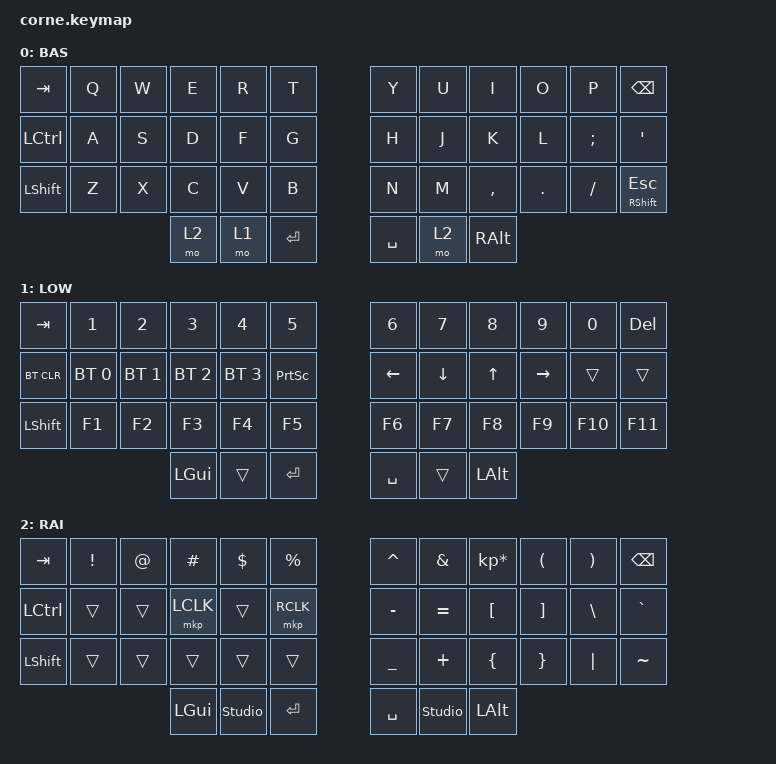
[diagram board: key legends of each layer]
/*
 * Copyright (c) 2020 The ZMK Contributors
 *
 * SPDX-License-Identifier: MIT
 */

#include <behaviors.dtsi>
#include <dt-bindings/zmk/bt.h>
#include <dt-bindings/zmk/keys.h>
#include <dt-bindings/zmk/mouse.h>

/ {
    keymap {
        compatible = "zmk,keymap";

        default_layer {
            display-name = "BAS";
            // -----------------------------------------------------------------------------------------
            // |  TAB |  Q  |  W  |  E  |  R  |  T  |   |  Y  |  U   |  I  |  O  |  P  | BKSP |
            // | CTRL |  A  |  S  |  D  |  F  |  G  |   |  H  |  J   |  K  |  L  |  ;  |  '   |
            // | SHFT |  Z  |  X  |  C  |  V  |  B  |   |  N  |  M   |  ,  |  .  |  /  | ESC  |
            //                    | RSE | LWR | SPC |   | ENT | RSE  | ALT |

            bindings = <
&kp TAB    &kp Q  &kp W  &kp E     &kp R  &kp T        &kp Y    &kp U  &kp I      &kp O    &kp P     &kp BSPC
&kp LCTRL  &kp A  &kp S  &kp D     &kp F  &kp G        &kp H    &kp J  &kp K      &kp L    &kp SEMI  &kp SQT
&kp LSHFT  &kp Z  &kp X  &kp C     &kp V  &kp B        &kp N    &kp M  &kp COMMA  &kp DOT  &kp FSLH  &mt RSHFT ESC
                         &mo 2     &mo 1  &kp RET     &kp SPACE  &mo 2  &kp RALT
            >;
        };

        lower_layer {
            display-name = "LOW";
            // -----------------------------------------------------------------------------------------
            // |  TAB |  1  |  2  |  3  |  4  |  5  |   |  6  |  7  |  8  |  9  |  0  | DEL  |
            // | BTCLR| BT1 | BT2 | BT3 | BT4 | PRSC|   | LFT | DWN |  UP | RGT |     |      |
            // | SHFT |     |     |     |     |     |   |     |     |     |     |     |      |
            //                    | GUI |     | SPC |   | ENT |     | LALT|

            bindings = <
&kp TAB     &kp N1        &kp N2        &kp N3        &kp N4        &kp N5          &kp N6    &kp N7    &kp N8    &kp N9     &kp N0  &kp DEL
&bt BT_CLR  &bt BT_SEL 0  &bt BT_SEL 1  &bt BT_SEL 2  &bt BT_SEL 3  &kp PSCRN       &kp LEFT  &kp DOWN  &kp UP    &kp RIGHT  &trans  &trans
&kp LSHFT   &kp F1        &kp F2        &kp F3        &kp F4        &kp F5          &kp F6    &kp F7    &kp F8    &kp F9     &kp F10 &kp F11
                                        &kp LGUI      &trans        &kp RET         &kp SPACE   &trans    &kp LALT
            >;
        };

        raise_layer {
            display-name = "RAI";
            // -----------------------------------------------------------------------------------------
            // |  TAB |  !  |  @  |  #  |  $  |  %  |   |  ^  |  &  |  *  |  (  |  )  | BKSP |
            // | CTRL |     |     |     |     |     |   |  -  |  =  |  [  |  ]  |  \  |  `   |
            // | SHFT |     |     |     |     |     |   |  _  |  +  |  {  |  }  | "|" |  ~   |
            //                    | GUI |     | SPC |   | ENT |     | ALT |

            bindings = <
&kp TAB    &kp EXCL  &kp AT  &kp HASH   &kp DLLR  &kp PRCNT    &kp CARET  &kp AMPS   &kp KP_MULTIPLY  &kp LPAR  &kp RPAR  &kp BSPC
&kp LCTRL  &trans    &trans  &mkp LCLK  &trans    &mkp RCLK    &kp MINUS  &kp EQUAL  &kp LBKT         &kp RBKT  &kp BSLH  &kp GRAVE
&kp LSHFT  &trans    &trans  &trans     &trans    &trans       &kp UNDER  &kp PLUS   &kp LBRC         &kp RBRC  &kp PIPE  &kp TILDE
                             &kp LGUI   &studio_unlock    &kp RET    &kp SPACE    &studio_unlock     &kp LALT
            >;
        };
    };
};
